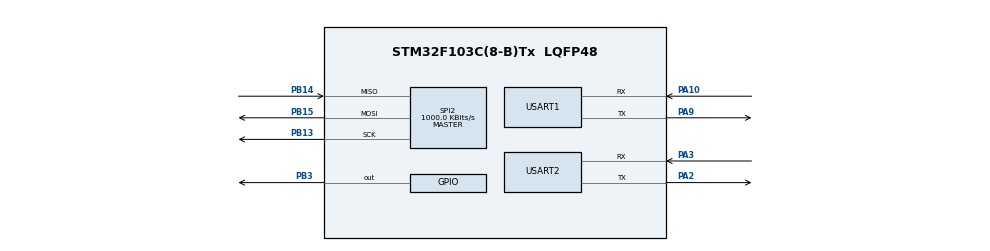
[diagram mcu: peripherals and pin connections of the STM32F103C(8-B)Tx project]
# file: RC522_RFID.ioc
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Mcu.Family=STM32F1
Mcu.Name=STM32F103C(8-B)Tx
Mcu.Package=LQFP48
NVIC.PriorityGroup=NVIC_PRIORITYGROUP_4
PA10.Mode=Asynchronous
PA10.Signal=USART1_RX
PA2.Mode=Asynchronous
PA2.Signal=USART2_TX
PA3.Mode=Asynchronous
PA3.Signal=USART2_RX
PA9.Mode=Asynchronous
PA9.Signal=USART1_TX
PB13.Mode=Full_Duplex_Master
PB13.Signal=SPI2_SCK
PB14.Mode=Full_Duplex_Master
PB14.Signal=SPI2_MISO
PB15.Mode=Full_Duplex_Master
PB15.Signal=SPI2_MOSI
PB3.Signal=GPIO_Output
ProjectManager.HeapSize=0x200
ProjectManager.StackSize=0x400
ProjectManager.TargetToolchain=STM32CubeIDE
RCC.APB1Freq_Value=8000000
RCC.APB2Freq_Value=8000000
RTC.Date=29
RTC.Format=RTC_FORMAT_BIN
RTC.Hours=12
RTC.Minutes=40
RTC.Month=RTC_MONTH_OCTOBER
RTC.WeekDay=RTC_WEEKDAY_THURSDAY
SPI2.BaudRatePrescaler=SPI_BAUDRATEPRESCALER_8
SPI2.CalculateBaudRate=1000.0 KBits/s
SPI2.Direction=SPI_DIRECTION_2LINES
SPI2.Mode=SPI_MODE_MASTER
SPI2.VirtualType=VM_MASTER
USART1.VirtualMode=VM_ASYNC
USART2.VirtualMode=VM_ASYNC
VP_RTC_VS_RTC_Activate.Mode=RTC_Enabled
VP_RTC_VS_RTC_Calendar.Mode=RTC_Calendar
VP_SYS_VS_ND.Mode=No_Debug
board=custom

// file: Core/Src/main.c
/* USER CODE BEGIN Header */
/**
  ******************************************************************************
  * @file           : main.c
  * @brief          : Main program body
  ******************************************************************************
  * @attention
  *
  * Copyright (c) 2026 STMicroelectronics.
  * All rights reserved.
  *
  * This software is licensed under terms that can be found in the LICENSE file
  * in the root directory of this software component.
  * If no LICENSE file comes with this software, it is provided AS-IS.
  *
  ******************************************************************************
  */
/* USER CODE END Header */
#include "main.h"

/* USER CODE BEGIN Includes */
/* USER CODE BEGIN Includes */
#include "rc522.h"
#include <stdio.h>
#include <string.h>
/* USER CODE END Includes */

RTC_HandleTypeDef hrtc;

SPI_HandleTypeDef hspi2;

UART_HandleTypeDef huart1;
UART_HandleTypeDef huart2;

void SystemClock_Config(void);
static void MX_GPIO_Init(void);
static void MX_USART1_UART_Init(void);
static void MX_SPI2_Init(void);
static void MX_USART2_UART_Init(void);
static void MX_RTC_Init(void);
/* USER CODE BEGIN PFP */
static void Get_Date_Time() ;
/* USER CODE END PFP */

/* USER CODE BEGIN 0 */
void Get_Date_Time(void)
{
  RTC_TimeTypeDef sTime = {0};
  RTC_DateTypeDef sDate = {0};
  char buffer[64];

  HAL_RTC_GetTime(&hrtc, &sTime, RTC_FORMAT_BIN);
  HAL_RTC_GetDate(&hrtc, &sDate, RTC_FORMAT_BIN);   // must be called after GetTime

  int len = snprintf(buffer, sizeof(buffer),
                     "Date: %02d/%02d/20%02d  Time: %02d:%02d:%02d\r\n",
                     sDate.Date, sDate.Month, sDate.Year,
                     sTime.Hours, sTime.Minutes, sTime.Seconds);

  HAL_UART_Transmit(&huart1, (uint8_t *)buffer, len, HAL_MAX_DELAY);
}
/* USER CODE END 0 */

int main(void)
{

  /* MCU Configuration--------------------------------------------------------*/

  /* Reset of all peripherals, Initializes the Flash interface and the Systick. */
  HAL_Init();

  /* Configure the system clock */
  SystemClock_Config();

  /* Initialize all configured peripherals */
  MX_GPIO_Init();
  MX_USART1_UART_Init();
  MX_SPI2_Init();
  MX_USART2_UART_Init();
  MX_RTC_Init();
  /* USER CODE BEGIN 2 */
uint8_t atqa[2] ;
uint8_t uid[5];
uint8_t id[7];
uint8_t id_size =0 ;
uint8_t sak ;

char msg[32];
int len = 0;

// CS idle = high
 init_rc522();

 // we check the version here to check if our communication sucsseded.
  /* USER CODE END 2 */

  /* Infinite loop */
  while (1)
  {

    /* USER CODE BEGIN 3 */
//	  HAL_Delay(100);                       // let power and oscillator settle
//
//	  // optional hard reset, only if RST is wired to a GPIO (here PB0 as an example)
//	  HAL_GPIO_WritePin(GPIOB, GPIO_PIN_3 , GPIO_PIN_RESET);
//	  HAL_Delay(10);
//	  HAL_GPIO_WritePin(GPIOB, GPIO_PIN_3 , GPIO_PIN_SET);
//	  HAL_Delay(50);
//
//	  reg_write(0x01, 0x0F);                // soft reset (CommandReg = SoftReset)
//	  HAL_Delay(50);
////
//	  uint8_t ver = reg_read(0x37);
////
////
//	  HAL_Delay(1000);
////
//	      char msg[32];
//	      int len = sprintf(msg, "RC522 version: 0x%02X\r\n", ver);
//	      HAL_UART_Transmit(&huart1, (uint8_t *)msg, len, 100);
//
//	      HAL_Delay(1000);
	  if (Send_REQA(atqa) == 0)
	  {
	      if (Send_Anticollision(0x93, uid) == 0)
	      {
	          if (uid[0] == 0x88)
	          {
	              id[0] = uid[1];
	              id[1] = uid[2];
	              id[2] = uid[3];

	              if (Send_Select(0x93, uid, &sak) == 0 &&
	                  Send_Anticollision(0x95, uid) == 0)
	              {
	                  id[3] = uid[0];
	                  id[4] = uid[1];
	                  id[5] = uid[2];
	                  id[6] = uid[3];
	                  id_size = 7;
	              }
	          }
	          else
	          {
	              for (uint8_t i = 0; i < 4; i++)
	                  id[i] = uid[i];
	              id_size = 4;
	          }

	          if (id_size != 0)                            // complete ID read
	          {
	              /* 1. card tapped + its ID */
	             len = sprintf(msg, "Card tapped: ");
	              for (uint8_t i = 0; i < id_size; i++)
	                  len += sprintf(&msg[len], "%02X ", id[i]);
	              len += sprintf(&msg[len], "\r\n");
	              HAL_UART_Transmit(&huart1, (uint8_t *)msg, len, 100);

	              /* 2. known or unknown? */
	             int8_t idx = find_user(id, id_size);

	              if (idx >= 0)
	              {
	                  sprintf(msg, "Welcome, %s\r\n", users[idx].name);
	                  uart_print(msg);
	                  Get_Date_Time();
	              }
	              else
	              {
	                  uart_print("Unknown card. Type a name and press Enter to add it (10 s, or wait to skip): ");

	                  char name[NAME_LEN];
	                  if (uart_read_line(name, NAME_LEN, 10000) > 0)
	                  {
	                      if (add_user(id, id_size, name) == 0)
	                      {
	                          sprintf(msg, "\r\nSaved: %s\r\n", name);
	                          uart_print(msg);
	                      }
	                      else
	                      {
	                          uart_print("\r\nDatabase full\r\n");
	                      }
	                  }
	                  else
	                  {
	                      uart_print("\r\nSkipped\r\n");
	                  }
	              }
	          }
	          HAL_Delay(500);
	      }
	  }
	  HAL_Delay(100);
  /* USER CODE END 3 */
}
}
void SystemClock_Config(void)
{
  RCC_OscInitTypeDef RCC_OscInitStruct = {0};
  RCC_ClkInitTypeDef RCC_ClkInitStruct = {0};
  RCC_PeriphCLKInitTypeDef PeriphClkInit = {0};

  /** Initializes the RCC Oscillators according to the specified parameters
  * in the RCC_OscInitTypeDef structure.
  */
  RCC_OscInitStruct.OscillatorType = RCC_OSCILLATORTYPE_HSI|RCC_OSCILLATORTYPE_LSI;
  RCC_OscInitStruct.HSIState = RCC_HSI_ON;
  RCC_OscInitStruct.HSICalibrationValue = RCC_HSICALIBRATION_DEFAULT;
  RCC_OscInitStruct.LSIState = RCC_LSI_ON;
  RCC_OscInitStruct.PLL.PLLState = RCC_PLL_NONE;
  if (HAL_RCC_OscConfig(&RCC_OscInitStruct) != HAL_OK)
  {
    Error_Handler();
  }

  /** Initializes the CPU, AHB and APB buses clocks
  */
  RCC_ClkInitStruct.ClockType = RCC_CLOCKTYPE_HCLK|RCC_CLOCKTYPE_SYSCLK
                              |RCC_CLOCKTYPE_PCLK1|RCC_CLOCKTYPE_PCLK2;
  RCC_ClkInitStruct.SYSCLKSource = RCC_SYSCLKSOURCE_HSI;
  RCC_ClkInitStruct.AHBCLKDivider = RCC_SYSCLK_DIV1;
  RCC_ClkInitStruct.APB1CLKDivider = RCC_HCLK_DIV1;
  RCC_ClkInitStruct.APB2CLKDivider = RCC_HCLK_DIV1;

  if (HAL_RCC_ClockConfig(&RCC_ClkInitStruct, FLASH_LATENCY_0) != HAL_OK)
  {
    Error_Handler();
  }
  PeriphClkInit.PeriphClockSelection = RCC_PERIPHCLK_RTC;
  PeriphClkInit.RTCClockSelection = RCC_RTCCLKSOURCE_LSI;
  if (HAL_RCCEx_PeriphCLKConfig(&PeriphClkInit) != HAL_OK)
  {
    Error_Handler();
  }
}

static void MX_RTC_Init(void)
{

  RTC_TimeTypeDef sTime = {0};
  RTC_DateTypeDef DateToUpdate = {0};

  /** Initialize RTC Only
  */
  hrtc.Instance = RTC;
  hrtc.Init.AsynchPrediv = RTC_AUTO_1_SECOND;
  hrtc.Init.OutPut = RTC_OUTPUTSOURCE_ALARM;
  if (HAL_RTC_Init(&hrtc) != HAL_OK)
  {
    Error_Handler();
  }

  /** Initialize RTC and set the Time and Date
  */
  sTime.Hours = 12;
  sTime.Minutes = 40;
  sTime.Seconds = 0;

  if (HAL_RTC_SetTime(&hrtc, &sTime, RTC_FORMAT_BIN) != HAL_OK)
  {
    Error_Handler();
  }
  DateToUpdate.WeekDay = RTC_WEEKDAY_THURSDAY;
  DateToUpdate.Month = RTC_MONTH_OCTOBER;
  DateToUpdate.Date = 29;
  DateToUpdate.Year = 0;

  if (HAL_RTC_SetDate(&hrtc, &DateToUpdate, RTC_FORMAT_BIN) != HAL_OK)
  {
    Error_Handler();
  }

}

static void MX_SPI2_Init(void)
{

  /* SPI2 parameter configuration*/
  hspi2.Instance = SPI2;
  hspi2.Init.Mode = SPI_MODE_MASTER;
  hspi2.Init.Direction = SPI_DIRECTION_2LINES;
  hspi2.Init.DataSize = SPI_DATASIZE_8BIT;
  hspi2.Init.CLKPolarity = SPI_POLARITY_LOW;
  hspi2.Init.CLKPhase = SPI_PHASE_1EDGE;
  hspi2.Init.NSS = SPI_NSS_SOFT;
  hspi2.Init.BaudRatePrescaler = SPI_BAUDRATEPRESCALER_8;
  hspi2.Init.FirstBit = SPI_FIRSTBIT_MSB;
  hspi2.Init.TIMode = SPI_TIMODE_DISABLE;
  hspi2.Init.CRCCalculation = SPI_CRCCALCULATION_DISABLE;
  hspi2.Init.CRCPolynomial = 10;
  if (HAL_SPI_Init(&hspi2) != HAL_OK)
  {
    Error_Handler();
  }

}

static void MX_USART1_UART_Init(void)
{

  huart1.Instance = USART1;
  huart1.Init.BaudRate = 115200;
  huart1.Init.WordLength = UART_WORDLENGTH_8B;
  huart1.Init.StopBits = UART_STOPBITS_1;
  huart1.Init.Parity = UART_PARITY_NONE;
  huart1.Init.Mode = UART_MODE_TX_RX;
  huart1.Init.HwFlowCtl = UART_HWCONTROL_NONE;
  huart1.Init.OverSampling = UART_OVERSAMPLING_16;
  if (HAL_UART_Init(&huart1) != HAL_OK)
  {
    Error_Handler();
  }

}

static void MX_USART2_UART_Init(void)
{

  huart2.Instance = USART2;
  huart2.Init.BaudRate = 115200;
  huart2.Init.WordLength = UART_WORDLENGTH_8B;
  huart2.Init.StopBits = UART_STOPBITS_1;
  huart2.Init.Parity = UART_PARITY_NONE;
  huart2.Init.Mode = UART_MODE_TX_RX;
  huart2.Init.HwFlowCtl = UART_HWCONTROL_NONE;
  huart2.Init.OverSampling = UART_OVERSAMPLING_16;
  if (HAL_UART_Init(&huart2) != HAL_OK)
  {
    Error_Handler();
  }

}

static void MX_GPIO_Init(void)
{
  GPIO_InitTypeDef GPIO_InitStruct = {0};

  /* GPIO Ports Clock Enable */
  __HAL_RCC_GPIOA_CLK_ENABLE();
  __HAL_RCC_GPIOB_CLK_ENABLE();

  /*Configure GPIO pin Output Level */
  HAL_GPIO_WritePin(GPIOB, GPIO_PIN_3, GPIO_PIN_RESET);

  /*Configure GPIO pin : PB3 */
  GPIO_InitStruct.Pin = GPIO_PIN_3;
  GPIO_InitStruct.Mode = GPIO_MODE_OUTPUT_PP;
  GPIO_InitStruct.Pull = GPIO_NOPULL;
  GPIO_InitStruct.Speed = GPIO_SPEED_FREQ_LOW;
  HAL_GPIO_Init(GPIOB, &GPIO_InitStruct);

}

void Error_Handler(void)
{
  __disable_irq();
  while (1)
  {
  }
}
